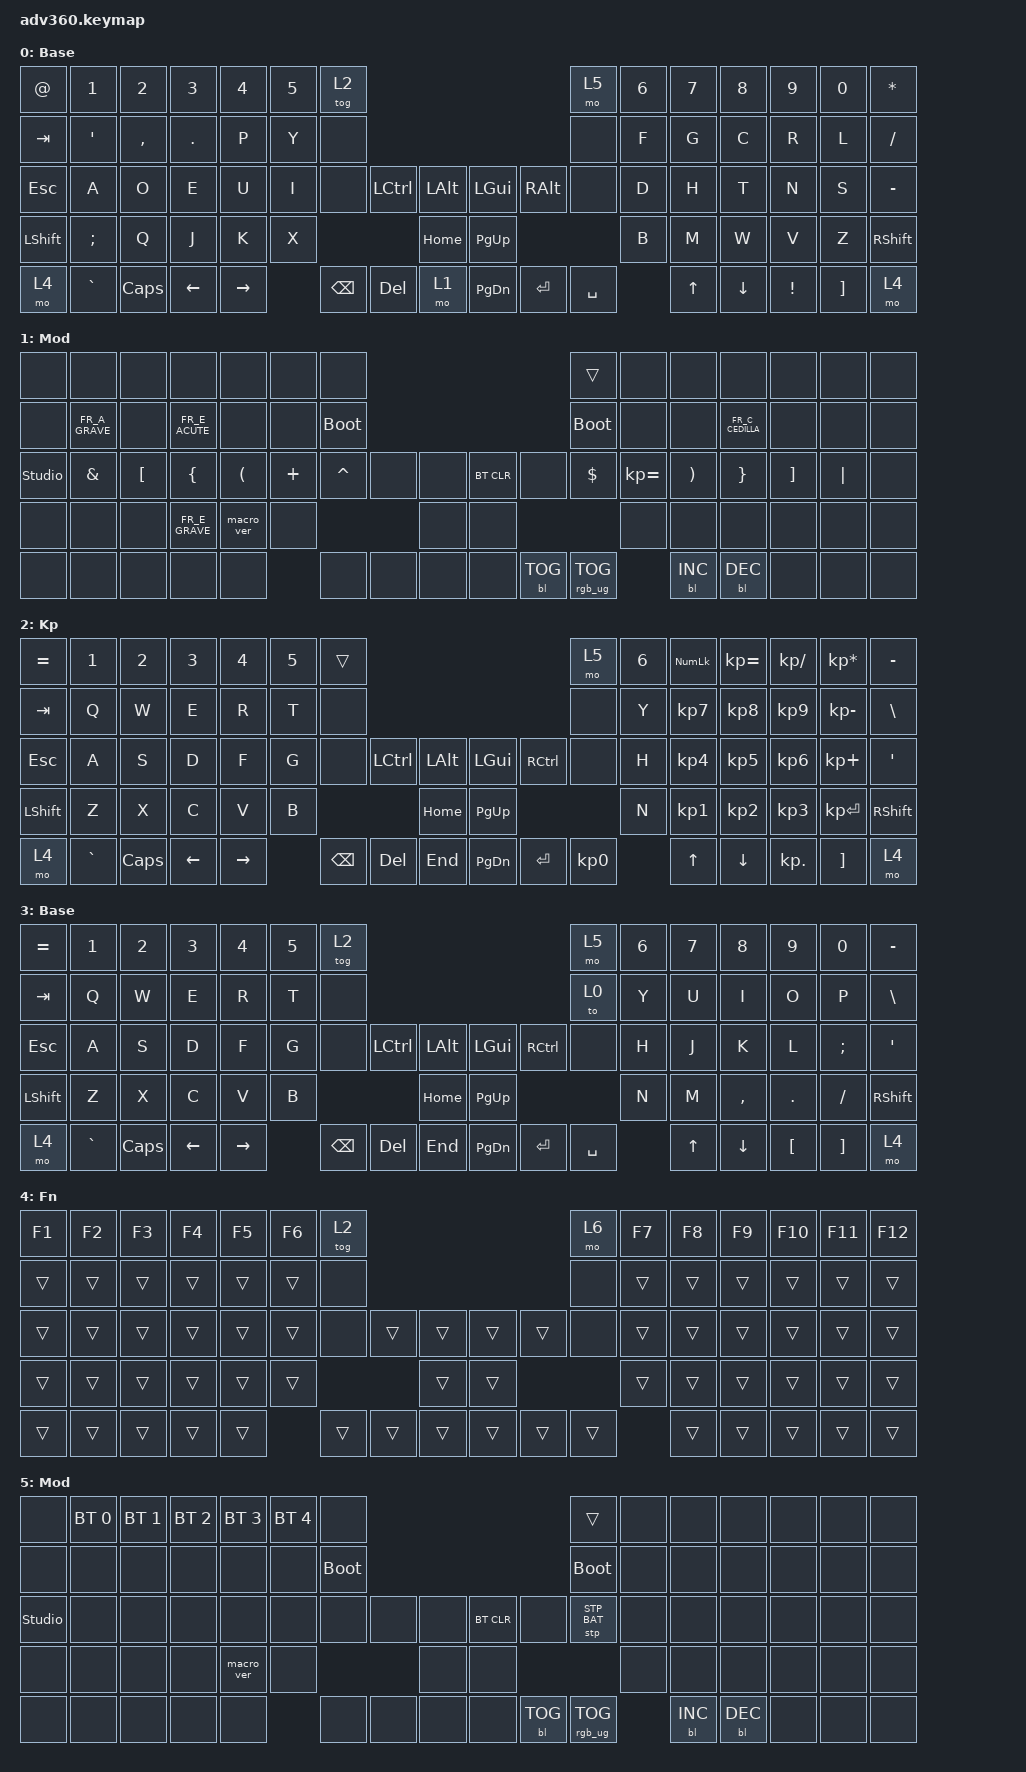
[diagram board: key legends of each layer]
#include <dt-bindings/zmk/stp.h>
#include <behaviors.dtsi>
#include <dt-bindings/zmk/backlight.h>
#include <dt-bindings/zmk/bt.h>
#include <dt-bindings/zmk/keys.h>
#include <dt-bindings/zmk/rgb.h>
#include "keys_fr.h"

/ {
    behaviors {
        #include "macros.dtsi"
      #include "version.dtsi"

        hm: homerow_mods {
            compatible = "zmk,behavior-hold-tap";
            label = "HOMEROW_MODS";
            #binding-cells = <2>;
            tapping-term-ms = <200>;
            quick_tap_ms = <175>;
            flavor = "tap-preferred";
            bindings = <&kp>, <&kp>;
        };
    };

    keymap {
        compatible = "zmk,keymap";

        DVORAK {
            display-name = "Base";
            bindings = <
&kp AT_SIGN  &kp N1     &kp N2     &kp N3    &kp N4     &kp N5  &tog 2                                                       &mo 5      &kp N6  &kp N7  &kp N8    &kp N9    &kp N0    &kp ASTRK
&kp TAB      &kp APOS   &kp COMMA  &kp DOT   &kp P      &kp Y   &none                                                        &none      &kp F   &kp G   &kp C     &kp R     &kp L     &kp SLASH
&kp ESC      &kp A      &kp O      &kp E     &kp U      &kp I   &none     &kp LCTRL  &kp LALT      &kp LGUI   &kp RIGHT_ALT  &none      &kp D   &kp H   &kp T     &kp N     &kp S     &kp MINUS
&kp LSHFT    &kp SEMI   &kp Q      &kp J     &kp K      &kp X                        &kp HOME      &kp PG_UP                            &kp B   &kp M   &kp W     &kp V     &kp Z     &kp RSHFT
&mo 4        &kp GRAVE  &kp CAPS   &kp LEFT  &kp RIGHT          &kp BSPC  &kp DEL    &mo 1         &kp PG_DN  &kp ENTER      &kp SPACE          &kp UP  &kp DOWN  &kp EXCL  &kp RBKT  &mo 4
            >;
        };

        symbol {
            display-name = "Mod";
            bindings = <
&none           &none           &none             &none           &none                 &none     &none                                                  &trans           &none         &none                  &none             &none     &none     &none
&none           &kp FR_A_GRAVE  &none             &kp FR_E_ACUTE  &none                 &none     &bootloader                                            &bootloader      &none         &none                  &kp FR_C_CEDILLA  &none     &none     &none
&studio_unlock  &kp AMPS        &kp LEFT_BRACKET  &kp LEFT_BRACE  &kp LEFT_PARENTHESIS  &kp PLUS  &kp CARET    &none  &none      &bt BT_CLR  &none       &kp DOLLAR       &kp KP_EQUAL  &kp RIGHT_PARENTHESIS  &kp RIGHT_BRACE   &kp RBKT  &kp PIPE  &none
&none           &none           &none             &kp FR_E_GRAVE  &macro_ver            &none                         &none      &none                                    &none         &none                  &none             &none     &none     &none
&none           &none           &none             &none           &none                           &none        &none  &none      &none       &bl BL_TOG  &rgb_ug RGB_TOG                &bl BL_INC             &bl BL_DEC        &none     &none     &none
            >;
        };

        keypad {
            display-name = "Kp";
            bindings = <
&kp EQUAL  &kp N1     &kp N2    &kp N3    &kp N4     &kp N5  &trans                                                   &mo 5      &kp N6  &kp KP_NUM  &kp KP_EQUAL  &kp KP_DIVIDE  &kp KP_MULTIPLY  &kp MINUS
&kp TAB    &kp Q      &kp W     &kp E     &kp R      &kp T   &none                                                    &none      &kp Y   &kp KP_N7   &kp KP_N8     &kp KP_N9      &kp KP_MINUS     &kp BSLH
&kp ESC    &kp A      &kp S     &kp D     &kp F      &kp G   &none     &kp LCTRL  &kp LALT      &kp LGUI   &kp RCTRL  &none      &kp H   &kp KP_N4   &kp KP_N5     &kp KP_N6      &kp KP_PLUS      &kp SQT
&kp LSHFT  &kp Z      &kp X     &kp C     &kp V      &kp B                        &kp HOME      &kp PG_UP                        &kp N   &kp KP_N1   &kp KP_N2     &kp KP_N3      &kp KP_ENTER     &kp RSHFT
&mo 4      &kp GRAVE  &kp CAPS  &kp LEFT  &kp RIGHT          &kp BSPC  &kp DEL    &kp END       &kp PG_DN  &kp ENTER  &kp KP_N0          &kp UP      &kp DOWN      &kp KP_DOT     &kp RBKT         &mo 4
            >;
        };

        default_layer {
            display-name = "Base";
            bindings = <
&kp EQUAL  &kp N1     &kp N2    &kp N3    &kp N4     &kp N5  &tog 2                                                   &mo 5      &kp N6  &kp N7  &kp N8     &kp N9    &kp N0    &kp MINUS
&kp TAB    &kp Q      &kp W     &kp E     &kp R      &kp T   &none                                                    &to 0      &kp Y   &kp U   &kp I      &kp O     &kp P     &kp BSLH
&kp ESC    &kp A      &kp S     &kp D     &kp F      &kp G   &none     &kp LCTRL  &kp LALT      &kp LGUI   &kp RCTRL  &none      &kp H   &kp J   &kp K      &kp L     &kp SEMI  &kp SQT
&kp LSHFT  &kp Z      &kp X     &kp C     &kp V      &kp B                        &kp HOME      &kp PG_UP                        &kp N   &kp M   &kp COMMA  &kp DOT   &kp FSLH  &kp RSHFT
&mo 4      &kp GRAVE  &kp CAPS  &kp LEFT  &kp RIGHT          &kp BSPC  &kp DEL    &kp END       &kp PG_DN  &kp ENTER  &kp SPACE          &kp UP  &kp DOWN   &kp LBKT  &kp RBKT  &mo 4
            >;
        };

        fn {
            display-name = "Fn";
            bindings = <
&kp F1  &kp F2  &kp F3  &kp F4  &kp F5  &kp F6  &tog 2                                      &mo 6   &kp F7  &kp F8  &kp F9  &kp F10  &kp F11  &kp F12
&trans  &trans  &trans  &trans  &trans  &trans  &none                                       &none   &trans  &trans  &trans  &trans   &trans   &trans
&trans  &trans  &trans  &trans  &trans  &trans  &none   &trans  &trans      &trans  &trans  &none   &trans  &trans  &trans  &trans   &trans   &trans
&trans  &trans  &trans  &trans  &trans  &trans                  &trans      &trans                  &trans  &trans  &trans  &trans   &trans   &trans
&trans  &trans  &trans  &trans  &trans          &trans  &trans  &trans      &trans  &trans  &trans          &trans  &trans  &trans   &trans   &trans
            >;
        };

        mod {
            display-name = "Mod";
            bindings = <
&none           &bt BT_SEL 0  &bt BT_SEL 1  &bt BT_SEL 2  &bt BT_SEL 3  &bt BT_SEL 4  &none                                                  &trans           &none  &none       &none       &none  &none  &none
&none           &none         &none         &none         &none         &none         &bootloader                                            &bootloader      &none  &none       &none       &none  &none  &none
&studio_unlock  &none         &none         &none         &none         &none         &none        &none  &none      &bt BT_CLR  &none       &stp STP_BAT     &none  &none       &none       &none  &none  &none
&none           &none         &none         &none         &macro_ver    &none                             &none      &none                                    &none  &none       &none       &none  &none  &none
&none           &none         &none         &none         &none                       &none        &none  &none      &none       &bl BL_TOG  &rgb_ug RGB_TOG         &bl BL_INC  &bl BL_DEC  &none  &none  &none
            >;
        };

        extra1 {
            display-name = "Red";
            status = "reserved";
        };

        extra2 {
            display-name = "Purple";
            status = "reserved";
        };

        extra3 {
            display-name = "Cyan";
            status = "reserved";
        };
    };
};
